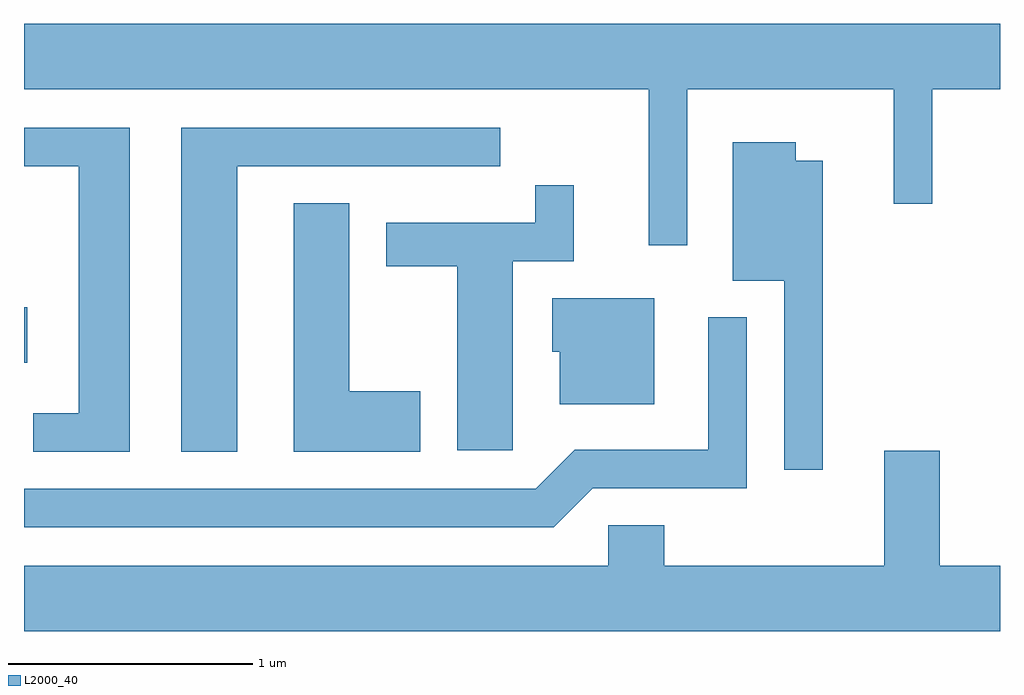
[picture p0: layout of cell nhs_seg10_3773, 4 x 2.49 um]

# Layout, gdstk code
import gdstk
lib = gdstk.Library(unit=1e-6, precision=1e-09)
def R(c, l, rs):  # rectangles x0, y0, x1, y1
    for r in rs: c.add(gdstk.rectangle(r[:2], r[2:], *l))
def P(c, l, *ps):  # polygons
    for p in ps: c.add(gdstk.Polygon(p, *l))
L2000_40 = (2000, 40)

nhs_seg10_3773 = lib.new_cell('nhs_seg10_3773')
R(nhs_seg10_3773, L2000_40, [(295.611,2186.056,295.624,2186.284)])
P(nhs_seg10_3773, L2000_40, [(298.329,2187.176),(299.176,2187.176),(299.176,2186.708),(299.334,2186.708),(299.334,2187.176),(299.611,2187.176),(299.611,2187.444),(295.611,2187.444),(295.611,2187.176),(298.171,2187.176),(298.171,2186.538),(298.329,2186.538)],
  [(296.484,2186.861),(297.563,2186.861),(297.563,2187.019),(296.256,2187.019),(296.256,2185.691),(296.484,2185.691)],
  [(296.044,2187.019),(295.611,2187.019),(295.611,2186.861),(295.836,2186.861),(295.836,2185.849),(295.648,2185.849),(295.648,2185.691),(296.044,2185.691)],
  [(298.884,2186.884),(298.774,2186.884),(298.774,2186.959),(298.516,2186.959),(298.516,2186.391),(298.726,2186.391),(298.726,2185.618),(298.884,2185.618)],
  [(297.614,2186.471),(297.864,2186.471),(297.864,2186.783),(297.706,2186.783),(297.706,2186.629),(297.096,2186.629),(297.096,2186.451),(297.386,2186.451),(297.386,2185.696),(297.614,2185.696)],
  [(297.234,2185.939),(296.944,2185.939),(296.944,2186.709),(296.716,2186.709),(296.716,2185.691),(297.234,2185.691)],
  [(298.194,2186.319),(297.776,2186.319),(297.776,2186.101),(297.806,2186.101),(297.806,2185.886),(298.194,2185.886)],
  [(297.942,2185.541),(298.574,2185.541),(298.574,2186.243),(298.416,2186.243),(298.416,2185.699),(297.869,2185.699),(297.709,2185.539),(295.611,2185.539),(295.611,2185.381),(297.782,2185.381)],
  [(299.611,2185.224),(299.364,2185.224),(299.364,2185.694),(299.136,2185.694),(299.136,2185.224),(298.234,2185.224),(298.234,2185.389),(298.006,2185.389),(298.006,2185.224),(295.611,2185.224),(295.611,2184.956),(299.611,2184.956)])

lib.write_gds('nhs_seg10_3773.gds')
